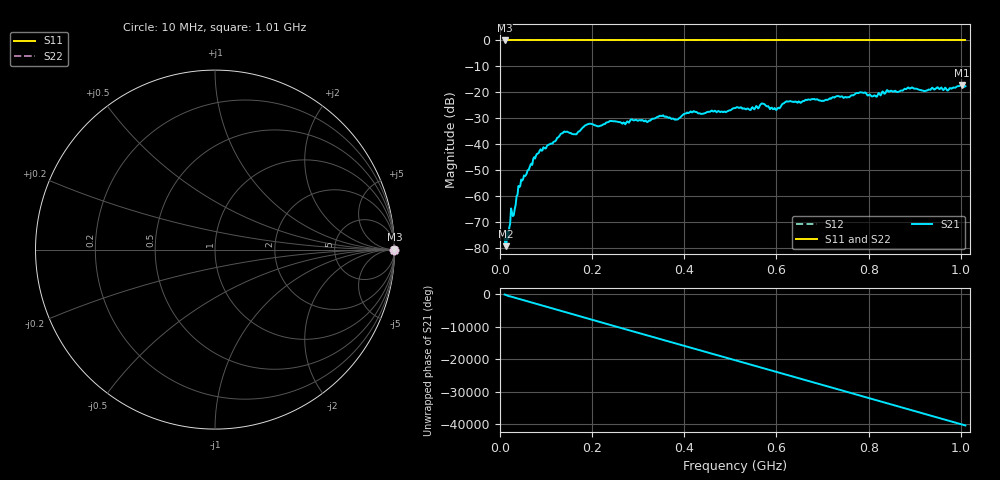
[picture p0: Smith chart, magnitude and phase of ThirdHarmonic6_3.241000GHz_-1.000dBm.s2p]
! 8/17/2025 9:57:01 AM
! C:\ANRITSUVNA\TEMP\TEMP.S2P
! CHANNEL.1
! TR.MEASUREMENT
! RAW.DATA
! RF.CORRECTION.OFF
! AVERAGING.OFF
! IF.BANDWIDTH: 5KHZ
! SWEEPTYPE:  FREQ.SWEEP(Linear)
! Reference Plane Port Info
! PORT:  PORT1  PORT2
! DISTANCE:  0  m  0  m
! TIME:  0  s  0  s
! PHASE.OFFSET:  0  deg.  0  deg.
! LOSS:  0  dB  0  dB
! REF.LOSS:  0  dB  0  dB
! REF.FREQ:  0  Hz  0  Hz
! Power Info
! POWER:  -20  dBm  -20  dBm
! EFF.POWER:  -20  dBm  -20  dBm
! SOURCE.ATTEN:  0  dB  0  dB
! TEST.ATTEN:  0  dB  0  dB
# GHZ S RI R 50.0
! FREQ.GHZ  S11RE  S11IM  S21RE  S21IM  S12RE  S12IM  S22RE  S22IM
!; PortSelection: Port_12
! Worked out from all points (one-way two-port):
!   501 points, 10 MHz to 1.01 GHz, reference 50 ohm
!   highest |S21| = -17.12 dB at 1.002 GHz (marker M1); lowest = -79.3 dB at 12 MHz (marker M2)
!   lowest |S11| = 0.0 dB at 10 MHz (marker M3)
!   |S11| at or under -10 dB: nowhere
!   |S22| runs from 0.0 to 0.0 dB; largest |S21 - S12| = 1.1
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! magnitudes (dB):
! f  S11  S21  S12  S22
! 10 MHz  0.0  -76.4  0.0  0.0
! 12 MHz  0.0  -79.3  0.0  0.0
! 16 MHz  0.0  -73.6  0.0  0.0
! 24 MHz  0.0  -64.8  0.0  0.0
! 32 MHz  0.0  -65.0  0.0  0.0
! 44 MHz  0.0  -56.1  0.0  0.0
! 76 MHz  0.0  -45.6  0.0  0.0
! 136 MHz  0.0  -35.7  0.0  0.0
! 162 MHz  0.0  -36.1  0.0  0.0
! 178 MHz  0.0  -33.9  0.0  0.0
! 344 MHz  0.0  -29.5  0.0  0.0
! 382 MHz  0.0  -30.5  0.0  0.0
! 416 MHz  0.0  -27.7  0.0  0.0
! 510 MHz  0.0  -26.1  0.0  0.0
! 570 MHz  0.0  -24.3  0.0  0.0
! 596 MHz  0.0  -26.0  0.0  0.0
! 622 MHz  0.0  -23.4  0.0  0.0
! 678 MHz  0.0  -22.6  0.0  0.0
! 814 MHz  0.0  -21.2  0.0  0.0
! 844 MHz  0.0  -19.8  0.0  0.0
! 1.002 GHz  0.0  -17.1  0.0  0.0
! 1.01 GHz  0.0  -17.7  0.0  0.0
